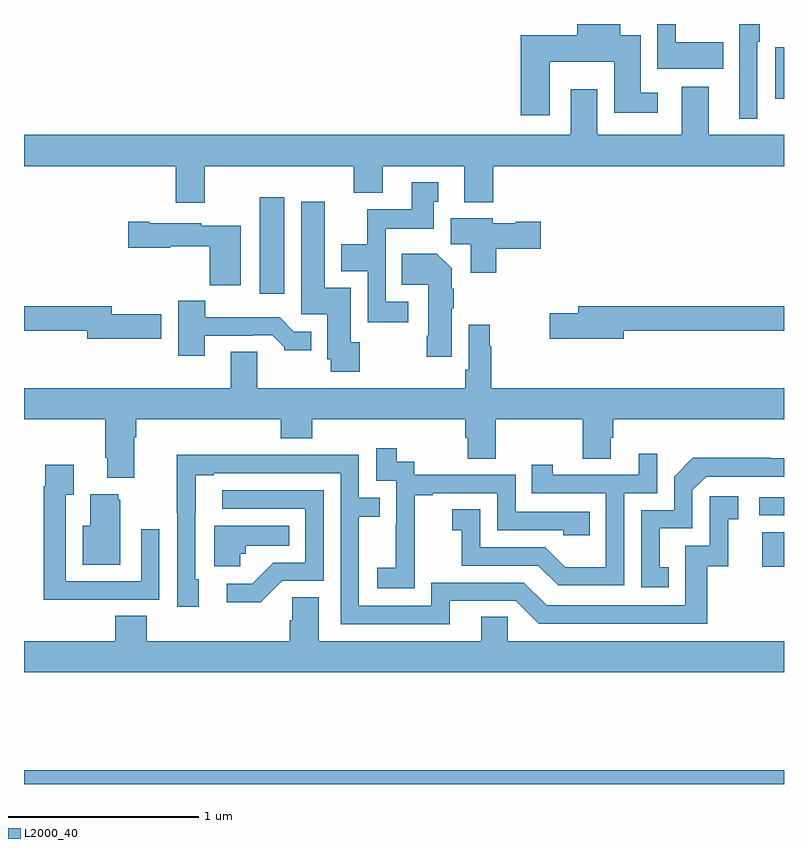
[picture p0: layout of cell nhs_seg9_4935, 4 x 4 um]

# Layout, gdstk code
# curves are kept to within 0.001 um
import gdstk
lib = gdstk.Library(unit=1e-6, precision=1e-09)
def R(c, l, rs):  # rectangles x0, y0, x1, y1
    for r in rs: c.add(gdstk.rectangle(r[:2], r[2:], *l))
def P(c, l, *ps):  # polygons
    for p in ps: c.add(gdstk.Polygon(p, *l))
L2000_40 = (2000, 40)

nhs_seg9_4935 = lib.new_cell('nhs_seg9_4935')
R(nhs_seg9_4935, L2000_40, [(397,1194.5,401,1194.572), (400.886,1195.644,401,1195.825), (400.869,1195.914,401,1196.01), (398.24,1197.081,398.371,1197.589), (400.955,1198.106,401,1198.378)])
P(nhs_seg9_4935, L2000_40, [(400.679,1198.405),(400.431,1198.405),(400.431,1198.5),(400.334,1198.5),(400.334,1198.265),(400.679,1198.265)],
  [(400.86,1198.406),(400.873,1198.406),(400.873,1198.5),(400.764,1198.5),(400.764,1198.002),(400.86,1198.002)],
  [(399.766,1198.301),(400.106,1198.301),(400.106,1198.034),(400.336,1198.034),(400.336,1198.138),(400.246,1198.138),(400.246,1198.441),(400.138,1198.441),(400.138,1198.5),(399.911,1198.5),(399.911,1198.441),(399.614,1198.441),(399.614,1198.02),(399.766,1198.02)],
  [(397.951,1197.752),(398.735,1197.752),(398.735,1197.611),(398.887,1197.611),(398.887,1197.752),(399.317,1197.752),(399.317,1197.563),(399.47,1197.563),(399.47,1197.752),(401,1197.752),(401,1197.916),(400.603,1197.916),(400.603,1198.171),(400.463,1198.171),(400.463,1197.916),(400.018,1197.916),(400.018,1198.156),(399.878,1198.156),(399.878,1197.916),(397,1197.916),(397,1197.752),(397.799,1197.752),(397.799,1197.558),(397.951,1197.558)],
  [(399.022,1197.039),(398.904,1197.039),(398.904,1197.422),(399.157,1197.422),(399.157,1197.564),(399.181,1197.564),(399.181,1197.667),(399.041,1197.667),(399.041,1197.526),(398.806,1197.526),(398.806,1197.34),(398.669,1197.34),(398.669,1197.2),(398.808,1197.2),(398.808,1196.931),(399.022,1196.931)],
  [(398.766,1196.826),(398.719,1196.826),(398.719,1197.112),(398.584,1197.112),(398.584,1197.565),(398.459,1197.565),(398.459,1196.973),(398.597,1196.973),(398.597,1196.736),(398.614,1196.736),(398.614,1196.67),(398.766,1196.67)],
  [(399.485,1197.317),(399.721,1197.317),(399.721,1197.459),(399.588,1197.459),(399.588,1197.451),(399.468,1197.451),(399.468,1197.478),(399.245,1197.478),(399.245,1197.34),(399.35,1197.34),(399.35,1197.192),(399.485,1197.192)],
  [(398.14,1197.439),(397.932,1197.439),(397.932,1197.451),(397.66,1197.451),(397.66,1197.459),(397.548,1197.459),(397.548,1197.322),(397.77,1197.322),(397.77,1197.329),(397.978,1197.329),(397.978,1197.125),(398.14,1197.125)],
  [(399.25,1197.004),(399.263,1197.004),(399.263,1197.107),(399.25,1197.107),(399.25,1197.214),(399.172,1197.292),(398.989,1197.292),(398.989,1197.128),(399.128,1197.128),(399.128,1196.86),(399.121,1196.86),(399.121,1196.748),(399.25,1196.748)],
  [(397.951,1196.859),(398.207,1196.859),(398.207,1196.862),(398.306,1196.862),(398.37,1196.798),(398.37,1196.783),(398.512,1196.783),(398.512,1196.88),(398.421,1196.88),(398.345,1196.956),(397.954,1196.956),(397.954,1197.043),(397.811,1197.043),(397.811,1196.754),(397.951,1196.754)],
  [(400.156,1196.886),(401,1196.886),(401,1197.014),(399.917,1197.014),(399.917,1196.978),(399.768,1196.978),(399.768,1196.843),(400.156,1196.843)],
  [(397.723,1196.973),(397.462,1196.973),(397.462,1197.014),(397,1197.014),(397,1196.886),(397.334,1196.886),(397.334,1196.843),(397.723,1196.843)],
  [(398.227,1196.774),(398.087,1196.774),(398.087,1196.584),(397,1196.584),(397,1196.42),(397.427,1196.42),(397.427,1196.218),(397.439,1196.218),(397.439,1196.111),(397.579,1196.111),(397.579,1196.324),(397.592,1196.324),(397.592,1196.42),(398.351,1196.42),(398.351,1196.321),(398.516,1196.321),(398.516,1196.42),(399.323,1196.42),(399.323,1196.322),(399.335,1196.322),(399.335,1196.212),(399.483,1196.212),(399.483,1196.42),(399.94,1196.42),(399.94,1196.212),(400.087,1196.212),(400.087,1196.322),(400.1,1196.322),(400.1,1196.42),(401,1196.42),(401,1196.584),(399.458,1196.584),(399.458,1196.804),(399.451,1196.804),(399.451,1196.917),(399.342,1196.917),(399.342,1196.68),(399.322,1196.68),(399.322,1196.584),(398.227,1196.584)],
  [(399.057,1195.735),(399.056,1195.735),(399.056,1196.019),(399.151,1196.019),(399.151,1196.031),(399.492,1196.031),(399.492,1195.836),(399.837,1195.836),(399.837,1195.809),(399.977,1195.809),(399.977,1195.932),(399.588,1195.932),(399.588,1196.127),(399.054,1196.127),(399.054,1196.196),(398.962,1196.196),(398.962,1196.266),(398.853,1196.266),(398.853,1196.097),(398.958,1196.097),(398.958,1195.868),(398.957,1195.868),(398.957,1195.639),(398.859,1195.639),(398.859,1195.529),(399.057,1195.529)],
  [(400.158,1196.031),(400.332,1196.031),(400.332,1196.239),(400.235,1196.239),(400.235,1196.127),(399.784,1196.127),(399.784,1196.179),(399.673,1196.179),(399.673,1196.031),(400.062,1196.031),(400.062,1195.642),(399.848,1195.642),(399.744,1195.746),(399.402,1195.746),(399.402,1195.945),(399.255,1195.945),(399.255,1195.835),(399.304,1195.835),(399.304,1195.65),(399.707,1195.65),(399.812,1195.545),(400.158,1195.545)],
  [(399.241,1195.464),(399.588,1195.464),(399.708,1195.344),(400.595,1195.344),(400.595,1195.647),(400.706,1195.647),(400.706,1195.893),(400.759,1195.893),(400.759,1196.014),(400.608,1196.014),(400.608,1195.755),(400.479,1195.755),(400.479,1195.44),(399.75,1195.44),(399.63,1195.56),(399.144,1195.56),(399.144,1195.437),(398.763,1195.437),(398.763,1195.906),(398.873,1195.906),(398.873,1196.007),(398.763,1196.007),(398.763,1196.232),(398.267,1196.232),(398.267,1196.234),(397.804,1196.234),(397.804,1195.927),(397.806,1195.927),(397.806,1195.434),(397.921,1195.434),(397.921,1195.578),(397.902,1195.578),(397.903,1196.124),(397.999,1196.124),(397.999,1196.136),(398.667,1196.136),(398.667,1195.341),(399.241,1195.341)],
  [(400.394,1195.641),(400.345,1195.641),(400.345,1195.845),(400.518,1195.845),(400.518,1196.046),(400.59,1196.118),(401,1196.118),(401,1196.214),(400.928,1196.214),(400.928,1196.216),(400.52,1196.216),(400.422,1196.118),(400.422,1195.941),(400.248,1195.941),(400.248,1195.536),(400.394,1195.536)],
  [(397.397,1195.47),(397.713,1195.47),(397.713,1195.84),(397.617,1195.84),(397.617,1195.566),(397.221,1195.566),(397.221,1196.023),(397.261,1196.023),(397.261,1196.179),(397.113,1196.179),(397.113,1196.066),(397.105,1196.066),(397.105,1195.469),(397.397,1195.469)],
  [(398.358,1195.569),(398.577,1195.569),(398.577,1196.046),(398.043,1196.046),(398.043,1195.95),(398.481,1195.95),(398.481,1195.665),(398.312,1195.665),(398.201,1195.554),(398.067,1195.554),(398.067,1195.457),(398.245,1195.457)],
  [(397.507,1195.995),(397.496,1195.995),(397.496,1196.026),(397.349,1196.026),(397.349,1195.858),(397.31,1195.858),(397.31,1195.655),(397.507,1195.655)],
  [(398.139,1195.713),(398.166,1195.713),(398.166,1195.754),(398.396,1195.754),(398.396,1195.858),(398,1195.858),(398,1195.646),(398.139,1195.646)],
  [(401,1195.252),(399.546,1195.252),(399.546,1195.379),(399.407,1195.379),(399.407,1195.252),(398.551,1195.252),(398.551,1195.484),(398.412,1195.484),(398.412,1195.361),(398.399,1195.361),(398.399,1195.252),(397.646,1195.252),(397.646,1195.385),(397.481,1195.385),(397.481,1195.252),(397,1195.252),(397,1195.088),(401,1195.088)])

lib.write_gds('nhs_seg9_4935.gds')
